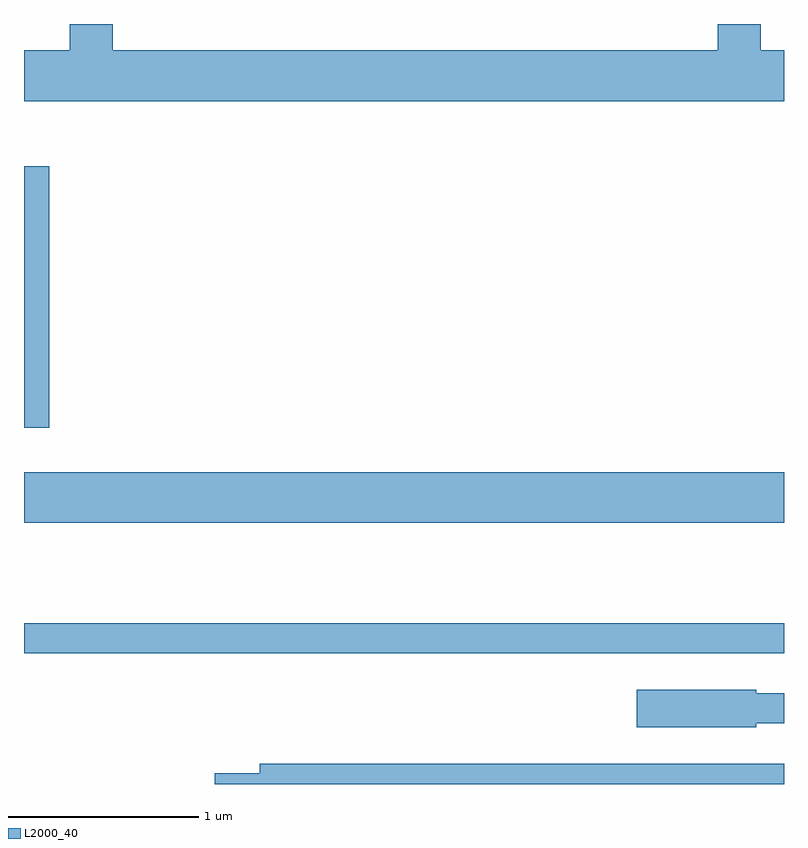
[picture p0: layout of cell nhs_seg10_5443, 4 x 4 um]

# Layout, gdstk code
import gdstk
lib = gdstk.Library(unit=1e-6, precision=1e-09)
def R(c, l, rs):  # rectangles x0, y0, x1, y1
    for r in rs: c.add(gdstk.rectangle(r[:2], r[2:], *l))
def P(c, l, *ps):  # polygons
    for p in ps: c.add(gdstk.Polygon(p, *l))
L2000_40 = (2000, 40)

nhs_seg10_5443 = lib.new_cell('nhs_seg10_5443')
R(nhs_seg10_5443, L2000_40, [(345.611,2133.211,349.611,2133.369), (345.611,2133.896,349.611,2134.164), (345.611,2134.396,345.744,2135.774)])
P(nhs_seg10_5443, L2000_40, [(349.611,2136.384),(349.489,2136.384),(349.489,2136.522),(349.261,2136.522),(349.261,2136.384),(346.079,2136.384),(346.079,2136.522),(345.851,2136.522),(345.851,2136.384),(345.611,2136.384),(345.611,2136.116),(349.611,2136.116)],
  [(349.464,2132.841),(349.611,2132.841),(349.611,2132.999),(349.464,2132.999),(349.464,2133.019),(348.836,2133.019),(348.836,2132.821),(349.464,2132.821)],
  [(349.611,2132.629),(346.851,2132.629),(346.851,2132.579),(346.616,2132.579),(346.616,2132.522),(349.611,2132.522)])

lib.write_gds('nhs_seg10_5443.gds')
